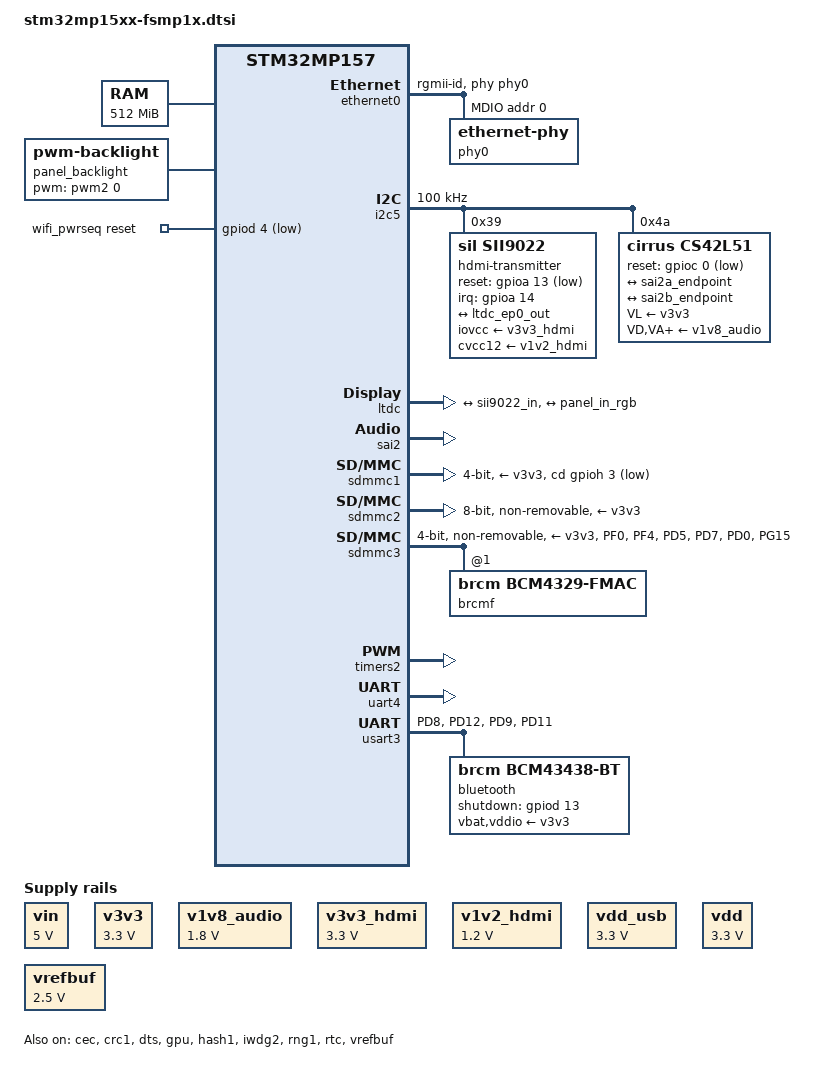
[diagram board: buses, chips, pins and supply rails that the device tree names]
// SPDX-License-Identifier: (GPL-2.0+ OR BSD-3-Clause)
/*
 * Copyright (C) STMicroelectronics 2019 - All Rights Reserved
 * Author: Alexandre Torgue <alexandre.torgue@st.com> for STMicroelectronics.
 */

#include "stm32mp157-m4-srm.dtsi"
#include "stm32mp157-m4-srm-pinctrl.dtsi"
#include <dt-bindings/mfd/st,stpmic1.h>
#include <dt-bindings/rtc/rtc-stm32.h>

/ {
	memory@c0000000 {
		device_type = "memory";
		reg = <0xc0000000 0x20000000>;
	};

	reserved-memory {
		#address-cells = <1>;
		#size-cells = <1>;
		ranges;

		mcuram2: mcuram2@10000000 {
			compatible = "shared-dma-pool";
			reg = <0x10000000 0x40000>;
			no-map;
		};

		vdev0vring0: vdev0vring0@10040000 {
			compatible = "shared-dma-pool";
			reg = <0x10040000 0x1000>;
			no-map;
		};

		vdev0vring1: vdev0vring1@10041000 {
			compatible = "shared-dma-pool";
			reg = <0x10041000 0x1000>;
			no-map;
		};

		vdev0buffer: vdev0buffer@10042000 {
			compatible = "shared-dma-pool";
			reg = <0x10042000 0x4000>;
			no-map;
		};

		mcuram: mcuram@30000000 {
			compatible = "shared-dma-pool";
			reg = <0x30000000 0x40000>;
			no-map;
		};

		retram: retram@38000000 {
			compatible = "shared-dma-pool";
			reg = <0x38000000 0x10000>;
			no-map;
		};
	};

	panel_backlight: panel-backlight {
		compatible = "pwm-backlight";
		pwms = <&pwm2 0 5000000>;
		brightness-levels = <0 4 8 16 32 64 128 255>;
		default-brightness-level = <6>;
		status = "okay";
	};
	
	// led {
	// 	compatible = "gpio-leds";
	// 	blue {
	// 		label = "heartbeat";
	// 		gpios = <&gpiod 11 GPIO_ACTIVE_HIGH>;
	// 		linux,default-trigger = "heartbeat";
	// 		default-state = "off";
	// 	};
	// };

	sound {
		compatible = "audio-graph-card";
		label = "STM32MP1-FSMP1A";
		routing =
			"Playback" , "MCLK",
			"Capture" , "MCLK",
			"MICL" , "Mic Bias";
		dais = <&sai2a_port &sai2b_port>;
		//dais = <&sai2a_port &sai2b_port &i2s2_port>;
		status = "okay";
	};

	usb_phy_tuning: usb-phy-tuning {
		st,hs-dc-level = <2>;
		st,fs-rftime-tuning;
		st,hs-rftime-reduction;
		st,hs-current-trim = <15>;
		st,hs-impedance-trim = <1>;
		st,squelch-level = <3>;
		st,hs-rx-offset = <2>;
		st,no-lsfs-sc;
	};

	vin: vin {
		compatible = "regulator-fixed";
		regulator-name = "vin";
		regulator-min-microvolt = <5000000>;
		regulator-max-microvolt = <5000000>;
		regulator-always-on;
	};

	v3v3: regulator-3p3v {
		compatible = "regulator-fixed";
		regulator-name = "v3v3";
		regulator-min-microvolt = <3300000>;
		regulator-max-microvolt = <3300000>;
		regulator-always-on;
		regulator-boot-on;
	};

	v1v8_audio: regulator-v1v8-audio {
		compatible = "regulator-fixed";
		regulator-name = "v1v8_audio";
		regulator-min-microvolt = <1800000>;
		regulator-max-microvolt = <1800000>;
		regulator-always-on;
		regulator-boot-on;
	};

	v3v3_hdmi: regulator-v3v3-hdmi {
		compatible = "regulator-fixed";
		regulator-name = "v3v3_hdmi";
		regulator-min-microvolt = <3300000>;
		regulator-max-microvolt = <3300000>;
		regulator-always-on;
		regulator-boot-on;
	};

	v1v2_hdmi: regulator-v1v2-hdmi {
		compatible = "regulator-fixed";
		regulator-name = "v1v2_hdmi";
		regulator-min-microvolt = <1200000>;
		regulator-max-microvolt = <1200000>;
		regulator-always-on;
		regulator-boot-on;
	};

	vdd_usb: regulator-vdd-usb {
		compatible = "regulator-fixed";
		regulator-name = "vdd_usb";
		regulator-min-microvolt = <3300000>;
		regulator-max-microvolt = <3300000>;
		regulator-always-on;
		regulator-boot-on;
	};

	vdd: regulator-vdd {
		compatible = "regulator-fixed";
		regulator-name = "vdd";
		regulator-min-microvolt = <3300000>;
		regulator-max-microvolt = <3300000>;
		regulator-always-on;
		regulator-boot-on;
	};

	wifi_pwrseq: wifi-pwrseq {
		compatible = "mmc-pwrseq-simple";
		reset-gpios = <&gpiod 4 GPIO_ACTIVE_LOW>;
	};
};

// &adc {
// 	pinctrl-names = "default";
// 	pinctrl-0 = <&adc12_ain_pins_a>, <&adc12_usb_cc_pins_a>;
// 	vdd-supply = <&vdd>;
// 	vdda-supply = <&vdd>;
// 	vref-supply = <&vrefbuf>;
// 	status = "disabled";
// 	adc1: adc@0 {
// 		/*
// 		 * Type-C USB_PWR_CC1 & USB_PWR_CC2 on in18 & in19.
// 		 * Use at least 5 * RC time, e.g. 5 * (Rp + Rd) * C:
// 		 * 5 * (56 + 47kOhms) * 5pF => 2.5us.
// 		 * Use arbitrary margin here (e.g. 5us).
// 		 */
// 		st,min-sample-time-nsecs = <5000>;
// 		/* AIN connector, USB Type-C CC1 & CC2 */
// 		st,adc-channels = <0 1 6 13 18 19>;
// 		status = "okay";
// 	};
// 	adc2: adc@100 {
// 		/* AIN connector, USB Type-C CC1 & CC2 */
// 		st,adc-channels = <0 1 2 6 18 19>;
// 		st,min-sample-time-nsecs = <5000>;
// 		status = "okay";
// 	};
// };

&cec {
	pinctrl-names = "default", "sleep";
	pinctrl-0 = <&cec_pins_b>;
	pinctrl-1 = <&cec_pins_sleep_b>;
	status = "okay";
};

// &cpu0{
// 	cpu-supply = <&vddcore>;
// };

// &cpu1{
// 	cpu-supply = <&vddcore>;
// };

&crc1 {
	status = "okay";
};

&dma1 {
	sram = <&dma_pool>;
};

&dma2 {
	sram = <&dma_pool>;
};

&dts {
	status = "okay";
};

&ethernet0 {
	status = "okay";
	pinctrl-0 = <&ethernet0_rgmii_pins_a>;
	pinctrl-1 = <&ethernet0_rgmii_pins_sleep_a>;
	pinctrl-names = "default", "sleep";
	phy-mode = "rgmii-id";
	max-speed = <1000>;
	phy-handle = <&phy0>;

	mdio0 {
		#address-cells = <1>;
		#size-cells = <0>;
		compatible = "snps,dwmac-mdio";
		phy0: ethernet-phy@0 {
			reg = <0>;
		};
	};
};

&gpu {
	contiguous-area = <&gpu_reserved>;
	status = "okay";
};

&hash1 {
	status = "okay";
};


&i2c5 {
	pinctrl-names = "default", "sleep";
	pinctrl-0 = <&i2c5_pins_a>;
	pinctrl-1 = <&i2c5_pins_sleep_a>;
	i2c-scl-rising-time-ns = <100>;
	i2c-scl-falling-time-ns = <7>;
	clock-frequency = <100000>;
	/* spare dmas for other usage */
	/delete-property/dmas;
	/delete-property/dma-names;
	status = "okay";

	// RGB2HDMI, transfer-chip
	hdmi-transmitter@39 {
		compatible = "sil,sii9022";
		reg = <0x39>;
		iovcc-supply = <&v3v3_hdmi>;
		cvcc12-supply = <&v1v2_hdmi>;
		reset-gpios = <&gpioa 13 GPIO_ACTIVE_LOW>;
		interrupts = <14 IRQ_TYPE_EDGE_FALLING>;
		interrupt-parent = <&gpioa>;
		#sound-dai-cells = <0>;
		status = "okay";
		ports {
			#address-cells = <1>;
			#size-cells = <0>;
			port@0 {
				reg = <0>;
				sii9022_in: endpoint {
					remote-endpoint = <&ltdc_ep0_out>;
				};
			};
		};
	};

	cs42l51: cs42l51@4a {
		compatible = "cirrus,cs42l51";
		reg = <0x4a>;
		#sound-dai-cells = <0>;
		VL-supply = <&v3v3>;
		VD-supply = <&v1v8_audio>;
		VA-supply = <&v1v8_audio>;
		VAHP-supply = <&v1v8_audio>;
		reset-gpios = <&gpioc 0 GPIO_ACTIVE_LOW>;
		clocks = <&sai2a>;
		clock-names = "MCLK";
		status = "okay";

		cs42l51_port: port {
			#address-cells = <1>;
			#size-cells = <0>;

			cs42l51_tx_endpoint: endpoint@0 {
				reg = <0>;
				remote-endpoint = <&sai2a_endpoint>;
				frame-master;
				bitclock-master;
			};

			cs42l51_rx_endpoint: endpoint@1 {
				reg = <1>;
				remote-endpoint = <&sai2b_endpoint>;
				frame-master;
				bitclock-master;
			};
		};
	};
};

// &i2s2 {
// 	clocks = <&rcc SPI2>, <&rcc SPI2_K>, <&rcc PLL3_Q>, <&rcc PLL3_R>;
// 	clock-names = "pclk", "i2sclk", "x8k", "x11k";
// 	pinctrl-names = "default", "sleep";
// 	pinctrl-0 = <&i2s2_pins_a>;
// 	pinctrl-1 = <&i2s2_pins_sleep_a>;
// 	status = "okay";

// 	i2s2_port: port {
// 		i2s2_endpoint: endpoint {
// 			remote-endpoint = <&sii9022_tx_endpoint>;
// 			format = "i2s";
// 			mclk-fs = <256>;
// 		};
// 	};
// };

&ipcc {
	status = "okay";
};

&iwdg2 {
	timeout-sec = <32>;
	status = "okay";
};

&ltdc {
	pinctrl-names = "default", "sleep";
	pinctrl-0 = <&ltdc_pins_b>;
	pinctrl-1 = <&ltdc_pins_sleep_b>;
	status = "okay";

	port {
		#address-cells = <1>;
		#size-cells = <0>;

		ltdc_ep0_out: endpoint@0 {
			reg = <0>;
			remote-endpoint = <&sii9022_in>;
		};
		ltdc_ep1_out: endpoint@1 {
			reg = <1>;
			remote-endpoint = <&panel_in_rgb>;
		};
	};
};

// &m4_rproc {
// 	memory-region = <&retram>, <&mcuram>, <&mcuram2>, <&vdev0vring0>,
// 			<&vdev0vring1>, <&vdev0buffer>;
// 	mboxes = <&ipcc 0>, <&ipcc 1>, <&ipcc 2>;
// 	mbox-names = "vq0", "vq1", "shutdown";
// 	interrupt-parent = <&exti>;
// 	interrupts = <68 1>;
// 	wakeup-source;
// 	status = "okay";
// };

// &pwr_regulators {
// 	vdd-supply = <&vdd>;
// 	vdd_3v3_usbfs-supply = <&vdd_usb>;
// };

&rng1 {
	status = "okay";
};

&rtc {
	status = "okay";
};

&sai2 {
	clocks = <&rcc SAI2>, <&rcc PLL3_Q>, <&rcc PLL3_R>;
	clock-names = "pclk", "x8k", "x11k";
	pinctrl-names = "default", "sleep";
	pinctrl-0 = <&sai2a_pins_a>, <&sai2b_pins_b>;
	pinctrl-1 = <&sai2a_sleep_pins_a>, <&sai2b_sleep_pins_b>;
	status = "okay";

	sai2a: audio-controller@4400b004 {
		#clock-cells = <0>;
		dma-names = "tx";
		clocks = <&rcc SAI2_K>;
		clock-names = "sai_ck";
		status = "okay";

		sai2a_port: port {
			sai2a_endpoint: endpoint {
				remote-endpoint = <&cs42l51_tx_endpoint>;
				format = "i2s";
				mclk-fs = <256>;
				dai-tdm-slot-num = <2>;
				dai-tdm-slot-width = <32>;
			};
		};
	};

	sai2b: audio-controller@4400b024 {
		dma-names = "rx";
		st,sync = <&sai2a 2>;
		clocks = <&rcc SAI2_K>, <&sai2a>;
		clock-names = "sai_ck", "MCLK";
		status = "okay";

		sai2b_port: port {
			sai2b_endpoint: endpoint {
				remote-endpoint = <&cs42l51_rx_endpoint>;
				format = "i2s";
				mclk-fs = <256>;
				dai-tdm-slot-num = <2>;
				dai-tdm-slot-width = <32>;
			};
		};
	};
};

&sdmmc1 {
	pinctrl-names = "default", "opendrain", "sleep";
	pinctrl-0 = <&sdmmc1_b4_pins_a>;
	pinctrl-1 = <&sdmmc1_b4_od_pins_a>;
	pinctrl-2 = <&sdmmc1_b4_sleep_pins_a>;
	cd-gpios = <&gpioh 3 (GPIO_ACTIVE_LOW | GPIO_PULL_UP)>;
	disable-wp;
	st,neg-edge;
	bus-width = <4>;
	vmmc-supply = <&v3v3>;
	status = "okay";
};

&sdmmc2 {
	pinctrl-names = "default", "opendrain", "sleep";
	pinctrl-0 = <&sdmmc2_b4_pins_a &sdmmc2_d47_pins_a>;
	pinctrl-1 = <&sdmmc2_b4_od_pins_a &sdmmc2_d47_pins_a>;
	pinctrl-2 = <&sdmmc2_b4_sleep_pins_a &sdmmc2_d47_sleep_pins_a>;
	non-removable;
	no-sd;
	no-sdio;
	st,neg-edge;
	bus-width = <8>;
	vmmc-supply = <&v3v3>;
	vqmmc-supply = <&vdd>;
	mmc-ddr-3_3v;
	status = "okay";
};

&sdmmc3 {
	arm,primecell-periphid = <0x10153180>;
	pinctrl-names = "default", "opendrain", "sleep";
	pinctrl-0 = <&sdmmc3_b4_wifi_pins_a>;
	pinctrl-1 = <&sdmmc3_b4_od_wifi_pins_a>;
	pinctrl-2 = <&sdmmc3_b4_sleep_wifi_pins_a>;
	non-removable;
	st,neg-edge;
	bus-width = <4>;
	vmmc-supply = <&v3v3>;
	mmc-pwrseq = <&wifi_pwrseq>;
	#address-cells = <1>;
	#size-cells = <0>;
	keep-power-in-suspend;
	status = "okay";
	brcmf: bcrmf@1 {
		reg = <1>;
		compatible = "brcm,bcm4329-fmac";
	};
};

// &spi4 {
// 	pinctrl-names = "default", "sleep";
// 	pinctrl-0 = <&spi4_pins_a>;
// 	pinctrl-1 = <&spi4_sleep_pins_a>;
// 	status = "disabled";
// };

// &spi5 {
// 	pinctrl-names = "default", "sleep";
// 	pinctrl-0 = <&spi5_pins_a>;
// 	pinctrl-1 = <&spi5_sleep_pins_a>;
// 	status = "disabled";
// };

&sram {
	dma_pool: dma_pool@0 {
		reg = <0x50000 0x10000>;
		pool;
	};
};

&timers1 {
	/* spare dmas for other usage */
	/delete-property/dmas;
	/delete-property/dma-names;
	status = "disabled";
	pwm {
		pinctrl-0 = <&pwm1_pins_a>;
		pinctrl-1 = <&pwm1_sleep_pins_a>;
		pinctrl-names = "default", "sleep";
		status = "okay";
	};
	timer@0 {
		status = "okay";
	};
};

&timers2 {
	// Don't occupy dma-channel
	/delete-property/dmas;
	/delete-property/dma-names;
	status = "okay";
	pwm2:pwm {
		pinctrl-0 = <&pwm2_pins_b>;
		pinctrl-1 = <&pwm2_sleep_pins_b>;
		pinctrl-names = "default", "sleep";
		// Dual-Mode, to save power
		#pwm-cells= <2>;
		status = "okay";
	};
	timer@2 {
		status = "disabled";
	};
};


&pinctrl {
	// The real pin was controlled
	pwm2_pins_b: pwm2-0 {
		pins {
			pinmux = <STM32_PINMUX('A', 5, AF1)>; /* TIM2_CH1 */
			bias-pull-down;
			drive-push-pull;
			slew-rate = <0>;
		};
	};
	pwm2_sleep_pins_b: pwm1-sleep-0 {
		pins {
			pinmux = <STM32_PINMUX('A', 5, ANALOG)>; /* TIM2_CH1 */
		};
	};
	usart3_pins_bt: usart3-bt-0 {
		pins1 {
			pinmux = <STM32_PINMUX('D', 8, AF7)>, /* USART3_TX */
					 <STM32_PINMUX('D', 12, AF7)>; /* USART3_RTS */
			bias-disable;
			drive-push-pull;
			slew-rate = <0>;
		};
		pins2 {
			pinmux = <STM32_PINMUX('D', 9, AF7)>, /* USART3_RX */
					 <STM32_PINMUX('D', 11, AF7)>; /* USART3_CTS_NSS */
			bias-disable;
		};
	};
	usart3_idle_pins_bt: usart3-idle-bt-0 {
		pins1 {
			pinmux = <STM32_PINMUX('D', 8, ANALOG)>, /* USART3_TX */
					 <STM32_PINMUX('D', 12, ANALOG)>, /* USART3_RTS */
					 <STM32_PINMUX('D', 11, ANALOG)>; /* USART3_CTS_NSS */
		};
		pins2 {
			pinmux = <STM32_PINMUX('D', 9, AF7)>; /* USART3_RX */
			bias-disable;
		};
	};
	usart3_sleep_pins_bt: usart3-sleep-bt-0 {
		pins {
			pinmux = <STM32_PINMUX('D', 8, ANALOG)>, /* USART3_TX */
					 <STM32_PINMUX('D', 12, ANALOG)>, /* USART3_RTS */
				 	 <STM32_PINMUX('D', 9, ANALOG)>, /* USART3_RX */
					 <STM32_PINMUX('D', 11, ANALOG)>; /* USART3_CTS_NSS */
		};
	};
	sdmmc3_b4_wifi_pins_a: sdmmc3-b4-wifi-0 {
		pins1 {
			pinmux = <STM32_PINMUX('F', 0, AF9)>, /* SDMMC3_D0 */
					<STM32_PINMUX('F', 4, AF9)>, /* SDMMC3_D1 */
					<STM32_PINMUX('D', 5, AF10)>, /* SDMMC3_D2 */
					<STM32_PINMUX('D', 7, AF10)>, /* SDMMC3_D3 */
					<STM32_PINMUX('D', 0, AF10)>; /* SDMMC3_CMD */
					slew-rate = <1>;
					drive-push-pull;
					bias-pull-up;
		};
		pins2 {
			pinmux = <STM32_PINMUX('G', 15, AF10)>; /* SDMMC3_CK */
			slew-rate = <2>;
			drive-push-pull;
			bias-pull-up;
		};
	};
	sdmmc3_b4_od_wifi_pins_a: sdmmc3-b4-od-wifi-0 {
		pins1 {
			pinmux = <STM32_PINMUX('F', 0, AF9)>, /* SDMMC3_D0 */
					<STM32_PINMUX('F', 4, AF9)>, /* SDMMC3_D1 */
					<STM32_PINMUX('D', 5, AF10)>, /* SDMMC3_D2 */
					<STM32_PINMUX('D', 7, AF10)>; /* SDMMC3_D3 */
					slew-rate = <1>;
					drive-push-pull;
					bias-pull-up;
		};
		pins2 {
			pinmux = <STM32_PINMUX('G', 15, AF10)>; /* SDMMC3_CK */
			slew-rate = <2>;
			drive-push-pull;
			bias-pull-up;
		};
		pins3 {
			pinmux = <STM32_PINMUX('D', 0, AF10)>; /* SDMMC3_CMD */
			slew-rate = <1>;
			drive-open-drain;
			bias-pull-up;
		};
	};
	sdmmc3_b4_sleep_wifi_pins_a: sdmmc3-b4-sleep-wifi-0 {
		pins {
			pinmux = <STM32_PINMUX('F', 0, AF9)>, /* SDMMC3_D0 */
					<STM32_PINMUX('F', 4, AF9)>, /* SDMMC3_D1 */
					<STM32_PINMUX('D', 5, AF10)>, /* SDMMC3_D2 */
					<STM32_PINMUX('D', 7, AF10)>, /* SDMMC3_D3 */
					<STM32_PINMUX('G', 15, AF10)>, /* SDMMC3_CK */
					<STM32_PINMUX('D', 0, AF10)>; /* SDMMC3_CMD */
		};
	};
};

&timers3 {
	/delete-property/dmas;
	/delete-property/dma-names;
	status = "disabled";
	pwm {
		pinctrl-0 = <&pwm3_pins_a>;
		pinctrl-1 = <&pwm3_sleep_pins_a>;
		pinctrl-names = "default", "sleep";
		status = "okay";
	};
	timer@2 {
		status = "okay";
	};
};

&timers4 {
	/delete-property/dmas;
	/delete-property/dma-names;
	status = "disabled";
	pwm {
		pinctrl-0 = <&pwm4_pins_a &pwm4_pins_b>;
		pinctrl-1 = <&pwm4_sleep_pins_a &pwm4_sleep_pins_b>;
		pinctrl-names = "default", "sleep";
		status = "okay";
	};
	timer@3 {
		status = "okay";
	};
};

&timers5 {
	/delete-property/dmas;
	/delete-property/dma-names;
	status = "disabled";
	pwm {
		pinctrl-0 = <&pwm5_pins_a>;
		pinctrl-1 = <&pwm5_sleep_pins_a>;
		pinctrl-names = "default", "sleep";
		status = "okay";
	};
	timer@4 {
		status = "okay";
	};
};

&timers6 {
	/delete-property/dmas;
	/delete-property/dma-names;
	status = "disabled";
	timer@5 {
		status = "okay";
	};
};

&timers12 {
	/delete-property/dmas;
	/delete-property/dma-names;
	status = "disabled";
	pwm {
		pinctrl-0 = <&pwm12_pins_a>;
		pinctrl-1 = <&pwm12_sleep_pins_a>;
		pinctrl-names = "default", "sleep";
		status = "okay";
	};
	timer@11 {
		status = "okay";
	};
};

&uart4 {
	pinctrl-names = "default", "sleep", "idle";
	pinctrl-0 = <&uart4_pins_a>;
	pinctrl-1 = <&uart4_sleep_pins_a>;
	pinctrl-2 = <&uart4_idle_pins_a>;
	pinctrl-3 = <&uart4_pins_a>;
	/delete-property/dmas;
	/delete-property/dma-names;
	status = "okay";
};

// &uart7 {
// 	pinctrl-names = "default", "sleep", "idle";
// 	pinctrl-0 = <&uart7_pins_b>;
// 	pinctrl-1 = <&uart7_sleep_pins_b>;
// 	pinctrl-2 = <&uart7_idle_pins_b>;
// 	/delete-property/dmas;
// 	/delete-property/dma-names;
// 	status = "disabled";
// };

&usart3 {
	pinctrl-names = "default", "sleep", "idle";
	pinctrl-0 = <&usart3_pins_bt>;
	pinctrl-1 = <&usart3_sleep_pins_bt>;
	pinctrl-2 = <&usart3_idle_pins_bt>;
	uart-has-rtscts;
	status = "okay";

	bluetooth {
		shutdown-gpios = <&gpiod 13 GPIO_ACTIVE_HIGH>;
		compatible = "brcm,bcm43438-bt";
		max-speed = <3000000>;
		vbat-supply = <&v3v3>;
		vddio-supply = <&v3v3>;
	};
};

// &usbh_ehci {
// 	phys = <&usbphyc_port0>;
// 	status = "okay";
// };

// &usbotg_hs {
// 	phys = <&usbphyc_port1 0>;
// 	phy-names = "usb2-phy";
// 	usb-role-switch;
// 	status = "okay";

// 	port {
// 		usbotg_hs_ep: endpoint {
// 			remote-endpoint = <&con_usbotg_hs_ep>;
// 		};
// 	};
// };

// &usbphyc {
// 	status = "okay";
// };

// &usbphyc_port0 {
// 	phy-supply = <&vdd_usb>;
// 	st,phy-tuning = <&usb_phy_tuning>;
// };

// &usbphyc_port1 {
// 	phy-supply = <&vdd_usb>;
// 	st,phy-tuning = <&usb_phy_tuning>;
// };

&vrefbuf {
	regulator-min-microvolt = <2500000>;
	regulator-max-microvolt = <2500000>;
	vdda-supply = <&vdd>;
	status = "okay";
};
